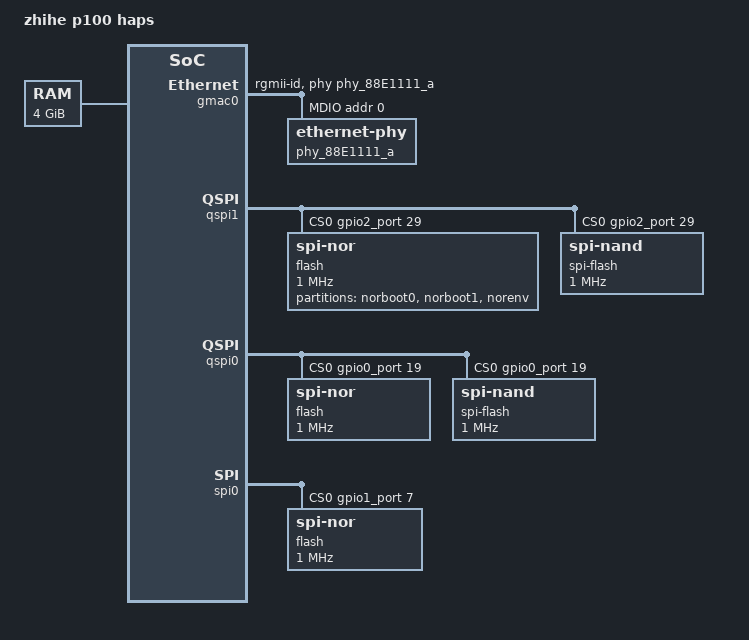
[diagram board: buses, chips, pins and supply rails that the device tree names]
// SPDX-License-Identifier: GPL-2.0+
/*
 * (C) Copyright 2024 Zhihe Computing Technology (Shenzhen) Co., Ltd.
 */

/dts-v1/;

#include "p100-soc.dtsi"

/ {
	model = "zhihe p100 haps";
	compatible = "zhihe,p100-soc", "zhihe, p100-haps";
	#address-cells = <2>;
	#size-cells = <2>;

	aliases {
		spi0 = &qspi0;
		spi1 = &qspi1;
		spi2 = &spi0;
		spi3 = &spi1;
	};

	chosen {
		bootargs = "console=ttyS4,115200";
		stdout-path = "/soc/serial@08401000:115200";
	};

	config {
		load-environment = <0>;
		init-mmc = <0>;
		c908-pll-freq = <1896>;
		c908-ccu-div = <1>;
		c920-pll-freq = <2298>;
		c920-ccu-div = <1>;
		cpu-ccu-enable = <1>;
		ddr-ccu-enable = <1>;
		npu-ccu-enable = <1>;
		vi-ccu-enable = <1>;
		vo-ccu-enable = <1>;
		vp-ccu-enable = <1>;
		usb-ccu-enable = <1>;
		pcie-ccu-enable = <1>;
		d2d-ccu-enable = <1>;
		cpu-ppu-dyn = <1>;
		ddr-ppu-dyn = <1>;
	};

	memory@80000000  {
		device_type = "memory";
		reg = <0x00 0x80000000  0x01 0x00000000>; /* 2G */
	};

	cpus {
		timebase-frequency = <10000000>; /* 10M */
	};

	signature {
		bootph-pre-ram;
		key-dev {
			required = "conf";
			algo = "sha256,rsa2048";
			rsa,r-squared = <0x68bec3f3 0x3bf0d297 0xda573f3d 0x47584cd 0x3a7ed1fa 0xb2f1d671 0x2687be8b 0x996c2ed2 0xfd4fad48 0xaf9c8ab0 0xeeb29007 0xce91965a 0x22de784f 0x8d2aafb5 0x6dc93ee6 0x8e97c1cf 0xdb9af31e 0x55c43026 0x5091bc33 0x5ffa9c32 0x7d46caea 0x1adc3d68 0x9c18457b 0x591655cb 0x96ab0d46 0xd5ef1a3a 0xe3d43abe 0x4a0d964b 0x74881c5e 0x6c9084cf 0xe3b8907a 0xb279100d 0x8969e9d0 0x19bbabda 0xff4b87a5 0xdf994a44 0xe2aea8ab 0x4b56b4b2 0x6dcea2ae 0x33ae87b5 0x4c8dd7f7 0x73ea6081 0x549223be 0x8e7b63d 0xd2e877d5 0xd25af656 0x11d3220 0x4cf03f80 0xa946baa4 0x9ae7c7e9 0x43cb069c 0x27f0afaa 0xc2f7c9f6 0x981cb1a2 0x9d44467a 0x4d5cf5d0 0xfee90fe3 0x5b828c2b 0x3a9dcf53 0xba6956a1 0x5ad91895 0xce5c10f3 0x65036544 0x2e6b64ea>;
			rsa,modulus = <0xb03afddf 0xdec310d6 0xeeb2b63c 0xcf512229 0x6240d68f 0x4252201 0x51ab11cf 0xe904a64b 0x2acf8c95 0xb331ad03 0xcb73eba7 0x4c1e0754 0xe83a5944 0xa5628c98 0x223ea657 0xd535de34 0x318e8b29 0x249cdbcf 0x4469bb38 0xb609701e 0x1f63c622 0x45dc9de9 0xd8affeab 0x6da8361a 0x539c7f0e 0x361cda9f 0xfa877355 0xd2942090 0x75b567c5 0x45db0f86 0xd751153f 0x6c8128f 0x9a394dff 0xf7ac1ad4 0xe47e4033 0x57522063 0x4729ccb4 0x5097f575 0x5e026819 0xc6810b6e 0x69ab698f 0xae49d463 0x8cdc9c5b 0xa217b0d6 0x3e1cbbf5 0xb69bbfe8 0x4aca4f05 0x22dd1e3a 0x19d8142b 0x77b58bbb 0xd3e3dee2 0x409ecaa2 0x86ef3afa 0xdeb63d47 0x5cebb545 0x99c1db5c 0x6217c0a4 0x13f9950b 0xb61c8c00 0x82a527be 0x1328201a 0x9a08e9d1 0xdfded6c1 0xfa5e0d5b>;
			rsa,exponent = <0x00 0x10001>;
			rsa,n0-inverse = <0x8754a52d>;
			rsa,num-bits = <0x800>;
			key-name-hint = "dev";
			u-boot,dm-pre-reloc;
			bootph-pre-ram;
		};
	};

	cipher {
		bootph-pre-ram;
		key-aes256-aes_key-aes_iv {
			key = <0x00>;
			iv = <0x00>;
			bootph-pre-ram;
		};
		key-sm4-sm4_key-sm4_iv {
			key = <0x00>;
			iv = <0x00>;
			bootph-pre-ram;
		};
	};
};

/* FIXME: HAPS overlay to be removed for real SOC. */
&clk {
	assigned-clocks = <&clk TOP_CFG_ACLK_DIV>, <&clk TOP_PCLK_DIV>,
				<&clk AMUX_CLK_DIV>, <&clk IOMMU_PTW_ACLK_DIV>,
				<&clk NOC_CCLK_MUX>, <&clk NOC_CCLK_DIV>,
				<&clk TOP_CPUSYS_BUS_CLK_MUX>, <&clk TOP_CPUSYS_BUS_CLK_DIV>,
				<&clk TOP_CPUSYS_PIC_CLK_MUX>, <&clk TOP_CPUSYS_PIC_CLK_DIV>,
				<&clk TOP_PERI_EMMC_REF_CLK_MUX>, <&clk TOP_PERI_EMMC_REF_CLK_DIV>,
				<&clk TOP_PERI_MST_ACLK0_DIV>, <&clk TOP_PERI_MST_CLK1_DIV>,
				<&clk TOP_PERI_HIRES_CLK0_DIV>, <&clk TOP_PERI_HIRES_CLK1_DIV>,
				<&clk TOP_PERI_SPI_SSI_CLK0_DIV>, <&clk TOP_PERI_SPI_SSI_CLK1_DIV>,
				<&clk TOP_PERI_QSPI_SSI_CLK_MUX0>, <&clk TOP_PERI_QSPI_SSI_CLK_MUX1>,
				<&clk I2C_IC_CLK>, <&clk TOP_UART_SCLK_MUX>;
	assigned-clock-rates =  <10000000>, /* top_cfg_aclk */
				<82500000>,  /* top_pclk */
				<240000000>, /* top_amux_clk_div */
				<165000000>, /* iommu_ptw_aclk_div */
				<0>,         /* noc_cclk_mux */
				<240000000>, /* noc_cclk_div */
				<0>,         /* top_cpusys_bus_clk_mux */
				<220000000>, /* top_cpusys_bus_clk */
				<0>,         /* top_cpusys_pic_clk_mux */
				<250000000>, /* top_cpusys_pic_clk */
				<0>,         /* emmc_ref_clk_mux */
				<40000000>,  /* emmc_ref_clk */
				<10000000>,  /* peri1_mst_aclk */
				<220000000>, /* peri3_mst_aclk */
				<80000000>,  /* peri1_hires_clk */
				<80000000>,  /* peri2_hires_clk */
				<10000000>,  /* peri1_spi_ssi_clk */
				<10000000>,  /* peri2_spi_ssi_clk */
				<10000000>,  /* peri1_qspi_ssi_clk */
				<10000000>,  /* peri2_qspi_ssi_clk */
				<10000000>,  /* i2c_ic_clk */
				<10000000>;  /* uart_sclk */
	assigned-clock-parents = <&clk VIDEO_PLL_FOUT1PH0>, <0>,
				<0>, <0>,
				<&clk VIDEO_PLL_FOUTVCO>, <0>,
				<&clk VIDEO_PLL_FOUTVCO>, <0>,
				<&clk GMAC_PLL_FOUTVCO>, <0>,
				<&clk VIDEO_PLL_FOUTVCO>, <&clk VIDEO_PLL_FOUTVCO>,
				<&clk VIDEO_PLL_FOUT1PH0>, <0>,
				<0>, <0>,
				<&clk AUDIO1_PLL_FOUTVCO>, <&clk AUDIO1_PLL_FOUTVCO>,
				<&clk TOP_PERI_QSPI0_SSI_CLK_DIV0>, <&clk TOP_PERI_QSPI1_SSI_CLK_DIV0>,
				<&clk GMAC_PLL_FOUTPOSTDIV>, <&clk UART_SCLK_100M>;
	/* pll */
	audio0_pll_foutvco_frequency = <150000000>;
	audio1_pll_foutvco_frequency = <80000000>;
	video_pll_foutvco_frequency = <120000000>;
	gmac_pll_foutvco_frequency = <300000000>;
};

&emmc {
	max-frequency = <400000>;      /* 400K Max emmc Clock */
};

&sdhci0 {
	max-frequency = <10000000>;    /* 10M */
};

&gmac0 {
	phy-mode = "rgmii-id";
	phy-handle = <&phy_88E1111_a>;
	speed = <10>;
	status = "okay";

	mdio0 {
		#address-cells = <1>;
		#size-cells = <0>;
		compatible = "snps,dwmac-mdio";
		/* The value of phy reg is related to the number of supported phy (CONFIG_PHY_???) */
		phy_88E1111_a: ethernet-phy@1 {
			reg = <0x0>;
		};
	};
};

&qspi1 {
	spi-max-frequency = <1000000>;  /* 1M */
	num-cs = <1>;
	cs-gpios = <&gpio2_port 29 0>;
	flash@1 {
		compatible = "jedec,spi-nor";
		#address-cells = <1>;
		#size-cells = <1>;
		reg = <0>;
		spi-max-frequency = <1000000>;
		spi-tx-bus-width = <4>;
		spi-rx-bus-width = <4>;

		partitions {
			compatible = "fixed-partitions";
			#address-cells = <1>;
			#size-cells = <1>;
			partition@norboot0 {
				reg = <0x00000000 0x00100000>;
				label = "norboot0";
			};
			partition@norboot1 {
				reg = <0x00100000 0x00100000>;
				label = "norboot1";
			};
			partition@norenv {
				reg = <0x00200000 0x00040000>;
				label = "norenv";
			};
		};
	};

	spi-flash@1 {
		compatible = "spi-nand";
		#address-cells = <1>;
		#size-cells = <1>;
		reg = <0>;
		spi-max-frequency = <1000000>;
		spi-tx-bus-width = <4>;
		spi-rx-bus-width = <4>;
	};
};

&qspi0 {
	spi-max-frequency = <1000000>; /* 1M */
	num-cs = <1>;
	cs-gpios = <&gpio0_port 19 0>;
	flash@0 {
		compatible = "jedec,spi-nor";
		#address-cells = <1>;
		#size-cells = <1>;
		reg = <0>;
		spi-max-frequency = <1000000>;
		spi-tx-bus-width = <4>;
		spi-rx-bus-width = <4>;
	};

	spi-flash@0 {
		compatible = "spi-nand";
		#address-cells = <1>;
		#size-cells = <1>;
		reg = <0>;
		spi-max-frequency = <1000000>;
		spi-tx-bus-width = <4>;
		spi-rx-bus-width = <4>;
	};
};

&spi0 {
	num-cs = <1>;
	cs-gpios = <&gpio1_port 7 0>;
	spi-max-frequency = <1000000>; /* 1M */
	flash@0 {
		compatible = "jedec,spi-nor";
		reg = <0>;
		spi-max-frequency = <1000000>;
	};
};

&spi1 {
	num-cs = <1>;
	/* cs-gpios = <&gpio2_port 15 1>; */
	spi-max-frequency = <1000000>; /* 1M */
};
